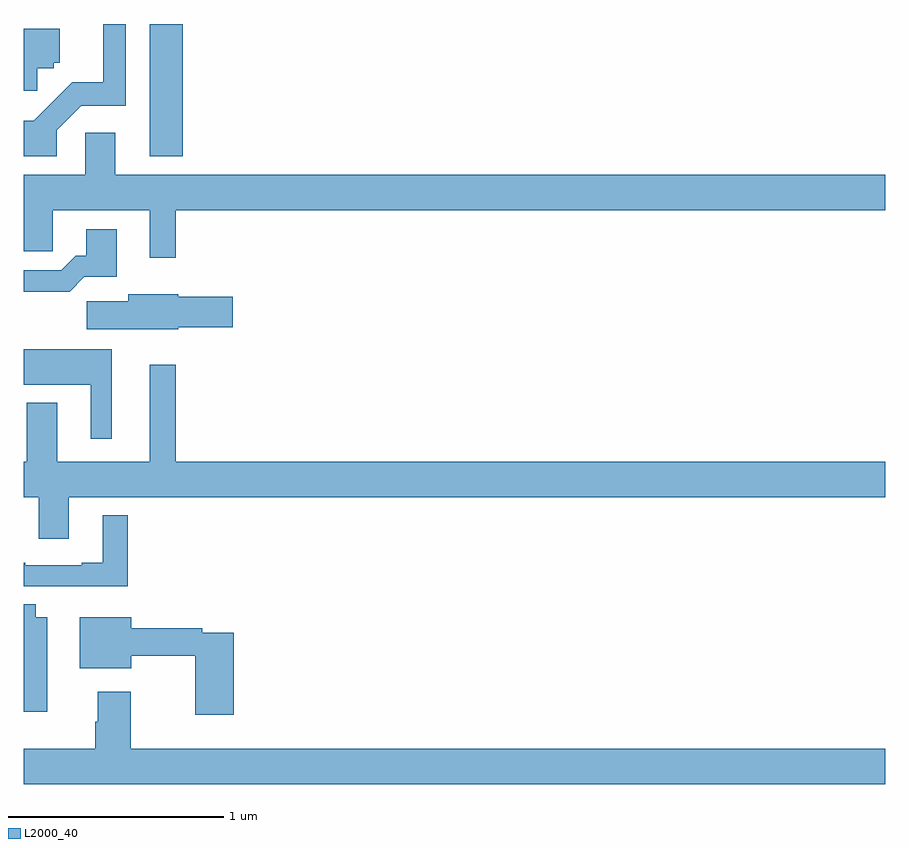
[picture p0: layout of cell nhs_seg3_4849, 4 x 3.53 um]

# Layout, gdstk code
import gdstk
lib = gdstk.Library(unit=1e-6, precision=1e-09)
def R(c, l, rs):  # rectangles x0, y0, x1, y1
    for r in rs: c.add(gdstk.rectangle(r[:2], r[2:], *l))
def P(c, l, *ps):  # polygons
    for p in ps: c.add(gdstk.Polygon(p, *l))
L2000_40 = (2000, 40)

nhs_seg3_4849 = lib.new_cell('nhs_seg3_4849')
R(nhs_seg3_4849, L2000_40, [(371.585,747.785,371.738,748.4)])
P(nhs_seg3_4849, L2000_40, [(371.154,747.906),(371.268,748.02),(371.473,748.02),(371.473,748.4),(371.369,748.4),(371.369,748.13),(371.225,748.13),(371.047,747.952),(371,747.952),(371,747.786),(371.154,747.786)],
  [(371.063,748.194),(371.139,748.194),(371.139,748.221),(371.167,748.221),(371.167,748.378),(371,748.378),(371,748.089),(371.063,748.089)],
  [(371.707,747.536),(375,747.536),(375,747.7),(371.425,747.7),(371.425,747.895),(371.286,747.895),(371.286,747.7),(371,747.7),(371,747.346),(371.136,747.346),(371.136,747.536),(371.585,747.536),(371.585,747.315),(371.707,747.315)],
  [(371.282,747.227),(371.431,747.227),(371.431,747.448),(371.291,747.448),(371.291,747.325),(371.242,747.325),(371.175,747.258),(371,747.258),(371,747.158),(371.213,747.158)],
  [(371.718,746.993),(371.971,746.993),(371.971,747.135),(371.718,747.135),(371.718,747.145),(371.486,747.145),(371.486,747.113),(371.292,747.113),(371.292,746.984),(371.718,746.984)],
  [(371.41,746.89),(371,746.89),(371,746.726),(371.312,746.726),(371.312,746.475),(371.41,746.475)],
  [(371.209,746.204),(375,746.204),(375,746.368),(371.707,746.368),(371.707,746.818),(371.585,746.818),(371.585,746.368),(371.155,746.368),(371.155,746.641),(371.015,746.641),(371.015,746.368),(371,746.368),(371,746.204),(371.069,746.204),(371.069,746.01),(371.209,746.01)],
  [(371.483,746.119),(371.366,746.119),(371.366,745.9),(371.27,745.9),(371.27,745.887),(371.008,745.887),(371.008,745.9),(371,745.9),(371,745.791),(371.152,745.791),(371.152,745.79),(371.483,745.79)],
  [(371.11,745.645),(371.056,745.645),(371.056,745.706),(371,745.706),(371,745.208),(371.11,745.208)],
  [(371.975,745.575),(371.828,745.575),(371.828,745.595),(371.5,745.595),(371.5,745.645),(371.261,745.645),(371.261,745.409),(371.5,745.409),(371.5,745.467),(371.797,745.467),(371.797,745.194),(371.975,745.194)],
  [(375,745.036),(371.498,745.036),(371.498,745.3),(371.345,745.3),(371.345,745.16),(371.333,745.16),(371.333,745.036),(371,745.036),(371,744.872),(375,744.872)])

lib.write_gds('nhs_seg3_4849.gds')
